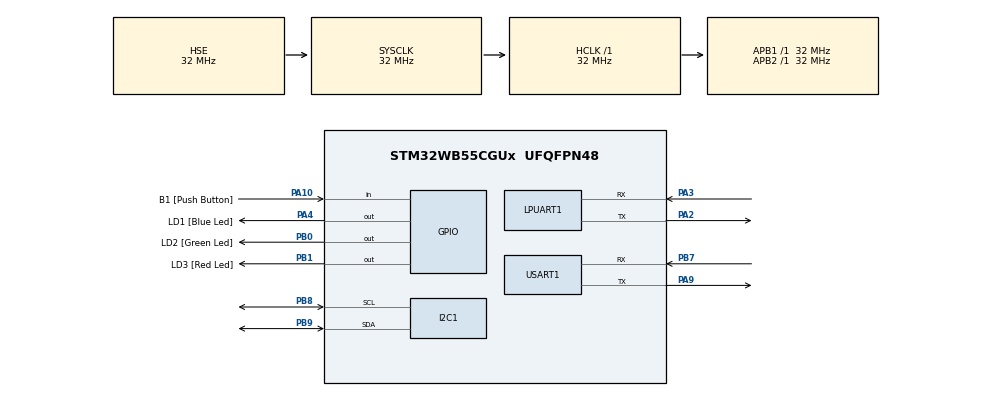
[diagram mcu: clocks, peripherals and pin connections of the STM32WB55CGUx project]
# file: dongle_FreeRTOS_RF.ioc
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FREERTOS.Tasks01=defaultTask,24,128,StartDefaultTask,Default,NULL
FREERTOS.configLIBRARY_MAX_SYSCALL_INTERRUPT_PRIORITY=5
FREERTOS.configTOTAL_HEAP_SIZE=10000
FREERTOS.configUSE_TICKLESS_IDLE=2
I2C1.Timing=0x00707CBB
Mcu.Family=STM32WB
Mcu.Name=STM32WB55CGUx
Mcu.Package=UFQFPN48
NVIC.C2SEV_PWR_C2H_IRQn=true\:5\:0\:false\:false\:true\:true\:true\:false
NVIC.FLASH_IRQn=true\:5\:0\:false\:false\:true\:true\:true\:true
NVIC.FPU_IRQn=true\:5\:0\:false\:false\:true\:true\:true\:false
NVIC.HSEM_IRQn=true\:5\:0\:false\:false\:true\:true\:true\:true
NVIC.LPUART1_IRQn=true\:5\:0\:false\:false\:true\:true\:true\:true
NVIC.PVD_PVM_IRQn=true\:5\:0\:false\:false\:true\:true\:true\:true
NVIC.PWR_SOTF_BLEACT_802ACT_RFPHASE_IRQn=true\:5\:0\:false\:false\:true\:true\:true\:false
NVIC.PriorityGroup=NVIC_PRIORITYGROUP_4
NVIC.RCC_IRQn=true\:5\:0\:false\:false\:true\:true\:true\:false
NVIC.TIM1_TRG_COM_TIM17_IRQn=true\:0\:0\:false\:false\:true\:false\:false\:true
NVIC.TimeBase=TIM1_TRG_COM_TIM17_IRQn
NVIC.TimeBaseIP=TIM17
NVIC.USART1_IRQn=true\:5\:0\:false\:false\:true\:true\:true\:true
OSC_IN.Mode=HSE-External-Oscillator
OSC_IN.Signal=RCC_OSC_IN
OSC_OUT.Mode=HSE-External-Oscillator
OSC_OUT.Signal=RCC_OSC_OUT
PA10.GPIO_Label=B1 [Push Button]
PA10.Signal=GPIO_Input
PA11.Signal=USB_DM
PA12.Signal=USB_DP
PA13.GPIO_Label=JTMS
PA13.Mode=Trace_Asynchronous_SW
PA13.Signal=SYS_JTMS-SWDIO
PA14.GPIO_Label=JTCK
PA14.Mode=Trace_Asynchronous_SW
PA14.Signal=SYS_JTCK-SWCLK
PA2.Mode=Asynchronous
PA2.Signal=LPUART1_TX
PA3.Mode=Asynchronous
PA3.Signal=LPUART1_RX
PA4.GPIO_Label=LD1 [Blue Led]
PA4.Signal=GPIO_Output
PA9.Mode=Asynchronous
PA9.Signal=USART1_TX
PB0.GPIO_Label=LD2 [Green Led]
PB0.Signal=GPIO_Output
PB1.GPIO_Label=LD3 [Red Led]
PB1.Signal=GPIO_Output
PB3.GPIO_Label=JTDO
PB3.Mode=Trace_Asynchronous_SW
PB3.Signal=SYS_JTDO-SWO
PB7.Mode=Asynchronous
PB7.Signal=USART1_RX
PB8.GPIO_PuPdOD=GPIO_NOPULL
PB8.Mode=I2C
PB8.Signal=I2C1_SCL
PB9.GPIO_PuPdOD=GPIO_NOPULL
PB9.Mode=I2C
PB9.Signal=I2C1_SDA
PC14-OSC32_IN.Mode=LSE-External-Oscillator
PC14-OSC32_IN.Signal=RCC_OSC32_IN
PC15-OSC32_OUT.Mode=LSE-External-Oscillator
PC15-OSC32_OUT.Signal=RCC_OSC32_OUT
ProjectManager.HeapSize=0x200
ProjectManager.StackSize=0x400
ProjectManager.TargetToolchain=TrueSTUDIO
RCC.ADCFreq_Value=48000000
RCC.AHBFreq_Value=32000000
RCC.APB1Freq_Value=32000000
RCC.APB1TimFreq_Value=32000000
RCC.APB2Freq_Value=32000000
RCC.APB2TimFreq_Value=32000000
RCC.APB3Freq_Value=16000000
RCC.CortexFreq_Value=32000000
RCC.HCLKFreq_Value=32000000
RCC.HSE_VALUE=32000000
RCC.HSI48_VALUE=48000000
RCC.HSI_VALUE=16000000
RCC.PLLN=32
RCC.PLLSAI1N=24
RCC.SYSCLKFreq_VALUE=32000000
RCC.SYSCLKSource=RCC_SYSCLKSOURCE_HSE
RCC.USBFreq_Value=48000000
RCC.VCOOutputFreq_Value=128000000
RF1.Mode=RF1_Activate
RF1.Signal=RF_RF1
STM32_WPAN.APPLI_CONFIG_LOG_LEVEL=LOG_LEVEL_INFO
STM32_WPAN.CFG_CLI_UART=hw_lpuart1
STM32_WPAN.CFG_FAST_CONN_ADV_INTERVAL_MAX_HEXA=0x0
STM32_WPAN.CFG_FAST_CONN_ADV_INTERVAL_MIN_HEXA=0x0
STM32_WPAN.CFG_HW_LPUART1_ENABLED=1
STM32_WPAN.CFG_LP_CONN_ADV_INTERVAL_MAX_HEXA=0x0
STM32_WPAN.CFG_LP_CONN_ADV_INTERVAL_MIN_HEXA=0x0
STM32_WPAN.CHANNEL=26
STM32_WPAN.LOCAL_NAME_FORMATTED=,'0'
STM32_WPAN.PANID=1234
STM32_WPAN.THREAD_APPLICATION=FTD
USART1.VirtualMode-Asynchronous=VM_ASYNC
VP_FREERTOS_VS_CMSIS_V2.Mode=CMSIS_V2
VP_HSEM_VS_HSEM.Mode=HSEM_Activate
VP_RTC_VS_RTC_Activate.Mode=RTC_Enabled
VP_STM32_WPAN_VS_THREAD.Mode=STM32_WPAN_Enabled
VP_SYS_VS_tim17.Mode=TIM17
VP_TINY_LPM_VS_TINY_LPM.Mode=TINY_LPM_Enabled
board=P-NUCLEO-WB55-USBDongle

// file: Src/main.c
/* USER CODE BEGIN Header */
/**
  ******************************************************************************
  * @file           : main.c
  * @brief          : Main program body
  ******************************************************************************
  * @attention
  *
  * <h2><center>&copy; Copyright (c) 2019 STMicroelectronics.
  * All rights reserved.</center></h2>
  *
  * This software component is licensed by ST under Ultimate Liberty license
  * SLA0044, the "License"; You may not use this file except in compliance with
  * the License. You may obtain a copy of the License at:
  *                             www.st.com/SLA0044
  *
  ******************************************************************************
  */
/* USER CODE END Header */

#include "main.h"
#include "cmsis_os.h"
#include "i2c.h"
#include "usart.h"
#include "rf.h"
#include "rtc.h"
#include "app_entry.h"
#include "app_common.h"
#include "gpio.h"

/* USER CODE BEGIN Includes */
#include "stm32_lpm.h"
#include "dbg_trace.h"
#include "hw_conf.h"
#include "otp.h"
/* USER CODE END Includes */

/* USER CODE BEGIN PV */
osThreadId_t defaultTaskHandle;
/* USER CODE END PV */

void SystemClock_Config(void);
void MX_FREERTOS_Init(void);
/* USER CODE BEGIN PFP */
void PeriphClock_Config(void);
static void Reset_Device( void );
static void Reset_IPCC( void );
static void Reset_BackupDomain( void );
static void Init_Exti( void );
static void Config_HSE(void);
void StartTask(void *argument);
/* USER CODE END PFP */

int main(void)
{

  /* MCU Configuration--------------------------------------------------------*/

  /* Reset of all peripherals, Initializes the Flash interface and the Systick. */
  HAL_Init();

  /* USER CODE BEGIN Init */
  Reset_Device();
  /* USER CODE END Init */

  /* Configure the system clock */
  SystemClock_Config();

  /* USER CODE BEGIN SysInit */
  Init_Exti(); /**< Configure the system Power Mode */
  /* USER CODE END SysInit */

  /* Initialize all configured peripherals */
  MX_GPIO_Init();
  MX_RF_Init();
  MX_RTC_Init();
  MX_LPUART1_UART_Init();
  MX_USART1_UART_Init();
  MX_I2C1_Init();

  /* Call init function for freertos objects (in freertos.c) */
  MX_FREERTOS_Init();

  /* Start scheduler */
  osKernelStart();

  /* We should never get here as control is now taken by the scheduler */

  /* Infinite loop */
  while (1)
  {

  }
}

void SystemClock_Config(void)
{
  RCC_OscInitTypeDef RCC_OscInitStruct = {0};
  RCC_ClkInitTypeDef RCC_ClkInitStruct = {0};
  RCC_PeriphCLKInitTypeDef PeriphClkInitStruct = {0};

  /** Configure the main internal regulator output voltage
  */
  __HAL_PWR_VOLTAGESCALING_CONFIG(PWR_REGULATOR_VOLTAGE_SCALE1);
  /** Initializes the CPU, AHB and APB busses clocks
  */
  RCC_OscInitStruct.OscillatorType = RCC_OSCILLATORTYPE_HSI|RCC_OSCILLATORTYPE_LSI1
                              |RCC_OSCILLATORTYPE_HSE;
  RCC_OscInitStruct.HSEState = RCC_HSE_ON;
  RCC_OscInitStruct.HSIState = RCC_HSI_ON;
  RCC_OscInitStruct.HSICalibrationValue = RCC_HSICALIBRATION_DEFAULT;
  RCC_OscInitStruct.LSIState = RCC_LSI_ON;
  RCC_OscInitStruct.PLL.PLLState = RCC_PLL_NONE;
  if (HAL_RCC_OscConfig(&RCC_OscInitStruct) != HAL_OK)
  {
    Error_Handler();
  }
  /** Configure the SYSCLKSource, HCLK, PCLK1 and PCLK2 clocks dividers
  */
  RCC_ClkInitStruct.ClockType = RCC_CLOCKTYPE_HCLK4|RCC_CLOCKTYPE_HCLK2
                              |RCC_CLOCKTYPE_HCLK|RCC_CLOCKTYPE_SYSCLK
                              |RCC_CLOCKTYPE_PCLK1|RCC_CLOCKTYPE_PCLK2;
  RCC_ClkInitStruct.SYSCLKSource = RCC_SYSCLKSOURCE_HSE;
  RCC_ClkInitStruct.AHBCLKDivider = RCC_SYSCLK_DIV1;
  RCC_ClkInitStruct.APB1CLKDivider = RCC_HCLK_DIV1;
  RCC_ClkInitStruct.APB2CLKDivider = RCC_HCLK_DIV1;
  RCC_ClkInitStruct.AHBCLK2Divider = RCC_SYSCLK_DIV1;
  RCC_ClkInitStruct.AHBCLK4Divider = RCC_SYSCLK_DIV1;

  if (HAL_RCC_ClockConfig(&RCC_ClkInitStruct, FLASH_LATENCY_1) != HAL_OK)
  {
    Error_Handler();
  }
  /** Initializes the peripherals clocks
  */
  PeriphClkInitStruct.PeriphClockSelection = RCC_PERIPHCLK_SMPS|RCC_PERIPHCLK_RFWAKEUP
                              |RCC_PERIPHCLK_RTC|RCC_PERIPHCLK_USART1
                              |RCC_PERIPHCLK_LPUART1|RCC_PERIPHCLK_I2C1;
  PeriphClkInitStruct.Usart1ClockSelection = RCC_USART1CLKSOURCE_PCLK2;
  PeriphClkInitStruct.Lpuart1ClockSelection = RCC_LPUART1CLKSOURCE_PCLK1;
  PeriphClkInitStruct.I2c1ClockSelection = RCC_I2C1CLKSOURCE_PCLK1;
  PeriphClkInitStruct.RTCClockSelection = RCC_RTCCLKSOURCE_LSI;
  PeriphClkInitStruct.RFWakeUpClockSelection = RCC_RFWKPCLKSOURCE_LSI;
  PeriphClkInitStruct.SmpsClockSelection = RCC_SMPSCLKSOURCE_HSE;
  PeriphClkInitStruct.SmpsDivSelection = RCC_SMPSCLKDIV_RANGE0;

  if (HAL_RCCEx_PeriphCLKConfig(&PeriphClkInitStruct) != HAL_OK)
  {
    Error_Handler();
  }
}

/* USER CODE BEGIN 4 */
void StartTask(void *argument)
{

  /* USER CODE BEGIN 5 */
  /* Infinite loop */
  for(;;)
  {
    osThreadFlagsWait(1,osFlagsWaitAll,osWaitForever);
  }
  /* USER CODE END 5 */
}

void PeriphClock_Config(void)
{
  #if (CFG_USB_INTERFACE_ENABLE != 0)
  RCC_PeriphCLKInitTypeDef PeriphClkInitStruct = { 0 };
  RCC_CRSInitTypeDef RCC_CRSInitStruct = { 0 };

  LL_RCC_HSI48_Enable();

  while(!LL_RCC_HSI48_IsReady());

  /* Select HSI48 as USB clock source */
  PeriphClkInitStruct.PeriphClockSelection = RCC_PERIPHCLK_USB;
  PeriphClkInitStruct.UsbClockSelection = RCC_USBCLKSOURCE_HSI48;
  HAL_RCCEx_PeriphCLKConfig(&PeriphClkInitStruct);

  /*Configure the clock recovery system (CRS)**********************************/

  /* Enable CRS Clock */
  __HAL_RCC_CRS_CLK_ENABLE();

  /* Default Synchro Signal division factor (not divided) */
  RCC_CRSInitStruct.Prescaler = RCC_CRS_SYNC_DIV1;

  /* Set the SYNCSRC[1:0] bits according to CRS_Source value */
  RCC_CRSInitStruct.Source = RCC_CRS_SYNC_SOURCE_USB;

  /* HSI48 is synchronized with USB SOF at 1KHz rate */
  RCC_CRSInitStruct.ReloadValue = RCC_CRS_RELOADVALUE_DEFAULT;
  RCC_CRSInitStruct.ErrorLimitValue = RCC_CRS_ERRORLIMIT_DEFAULT;

  RCC_CRSInitStruct.Polarity = RCC_CRS_SYNC_POLARITY_RISING;

  /* Set the TRIM[5:0] to the default value*/
  RCC_CRSInitStruct.HSI48CalibrationValue = RCC_CRS_HSI48CALIBRATION_DEFAULT;

  /* Start automatic synchronization */
  HAL_RCCEx_CRSConfig(&RCC_CRSInitStruct);
#endif

  /**
   * Select LSE clock
   */
  LL_RCC_LSE_Enable();
  while(!LL_RCC_LSE_IsReady());

  /**
   * Select wakeup source of BLE RF
   */
  LL_RCC_SetRFWKPClockSource(LL_RCC_RFWKP_CLKSOURCE_LSE);

  /**
   * Switch OFF LSI
   */
  LL_RCC_LSI1_Disable();

  /**
   * Set RNG on HSI48
   */
  LL_RCC_HSI48_Enable();
  while(!LL_RCC_HSI48_IsReady());
  LL_RCC_SetCLK48ClockSource(LL_RCC_CLK48_CLKSOURCE_HSI48);

  return;
}
/*************************************************************
 *
 * LOCAL FUNCTIONS
 *
 *************************************************************/

static void Config_HSE(void)
{
    OTP_ID0_t * p_otp;

  /**
   * Read HSE_Tuning from OTP
   */
  p_otp = (OTP_ID0_t *) OTP_Read(0);
  if (p_otp)
  {
    LL_RCC_HSE_SetCapacitorTuning(p_otp->hse_tuning);
  }

  return;
}

static void Reset_Device( void )
{
#if ( CFG_HW_RESET_BY_FW == 1 )
  Reset_BackupDomain();

  Reset_IPCC();
#endif

  return;
}

static void Reset_IPCC( void )
{
  LL_AHB3_GRP1_EnableClock(LL_AHB3_GRP1_PERIPH_IPCC);

  LL_C1_IPCC_ClearFlag_CHx(
      IPCC,
      LL_IPCC_CHANNEL_1 | LL_IPCC_CHANNEL_2 | LL_IPCC_CHANNEL_3 | LL_IPCC_CHANNEL_4
      | LL_IPCC_CHANNEL_5 | LL_IPCC_CHANNEL_6);

  LL_C2_IPCC_ClearFlag_CHx(
      IPCC,
      LL_IPCC_CHANNEL_1 | LL_IPCC_CHANNEL_2 | LL_IPCC_CHANNEL_3 | LL_IPCC_CHANNEL_4
      | LL_IPCC_CHANNEL_5 | LL_IPCC_CHANNEL_6);

  LL_C1_IPCC_DisableTransmitChannel(
      IPCC,
      LL_IPCC_CHANNEL_1 | LL_IPCC_CHANNEL_2 | LL_IPCC_CHANNEL_3 | LL_IPCC_CHANNEL_4
      | LL_IPCC_CHANNEL_5 | LL_IPCC_CHANNEL_6);

  LL_C2_IPCC_DisableTransmitChannel(
      IPCC,
      LL_IPCC_CHANNEL_1 | LL_IPCC_CHANNEL_2 | LL_IPCC_CHANNEL_3 | LL_IPCC_CHANNEL_4
      | LL_IPCC_CHANNEL_5 | LL_IPCC_CHANNEL_6);

  LL_C1_IPCC_DisableReceiveChannel(
      IPCC,
      LL_IPCC_CHANNEL_1 | LL_IPCC_CHANNEL_2 | LL_IPCC_CHANNEL_3 | LL_IPCC_CHANNEL_4
      | LL_IPCC_CHANNEL_5 | LL_IPCC_CHANNEL_6);

  LL_C2_IPCC_DisableReceiveChannel(
      IPCC,
      LL_IPCC_CHANNEL_1 | LL_IPCC_CHANNEL_2 | LL_IPCC_CHANNEL_3 | LL_IPCC_CHANNEL_4
      | LL_IPCC_CHANNEL_5 | LL_IPCC_CHANNEL_6);

  return;
}

static void Reset_BackupDomain( void )
{
  if ((LL_RCC_IsActiveFlag_PINRST() != FALSE) && (LL_RCC_IsActiveFlag_SFTRST() == FALSE))
  {
    HAL_PWR_EnableBkUpAccess(); /**< Enable access to the RTC registers */

    /**
     *  Write twice the value to flush the APB-AHB bridge
     *  This bit shall be written in the register before writing the next one
     */
    HAL_PWR_EnableBkUpAccess();

    __HAL_RCC_BACKUPRESET_FORCE();
    __HAL_RCC_BACKUPRESET_RELEASE();
  }

  return;
}

static void Init_Exti( void )
{
  /**< Disable all wakeup interrupt on CPU1  except IPCC(36), HSEM(38) */
  LL_EXTI_DisableIT_0_31(~0);
  LL_EXTI_DisableIT_32_63( (~0) & (~(LL_EXTI_LINE_36 | LL_EXTI_LINE_38)) );

  return;
}
/* USER CODE END 4 */

void HAL_TIM_PeriodElapsedCallback(TIM_HandleTypeDef *htim)
{
  if (htim->Instance == TIM17) {
    HAL_IncTick();
  }
}

void Error_Handler(void)
{
}

/************************ (C) COPYRIGHT STMicroelectronics *****END OF FILE****/

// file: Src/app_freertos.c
/* USER CODE BEGIN Header */
/**
  ******************************************************************************
  * File Name          : app_freertos.c
  * Description        : Code for freertos applications
  ******************************************************************************
  * @attention
  *
  * <h2><center>&copy; Copyright (c) 2019 STMicroelectronics.
  * All rights reserved.</center></h2>
  *
  * This software component is licensed by ST under Ultimate Liberty license
  * SLA0044, the "License"; You may not use this file except in compliance with
  * the License. You may obtain a copy of the License at:
  *                             www.st.com/SLA0044
  *
  ******************************************************************************
  */
/* USER CODE END Header */

#include "FreeRTOS.h"
#include "task.h"
#include "main.h"
#include "cmsis_os.h"

/* USER CODE BEGIN Includes */
#include "app_entry.h"
#include "lights.h"
//#include "lp5523.h"
/* USER CODE END Includes */

/* USER CODE BEGIN Variables */
osThreadId_t threadCheckToggleLightsTaskHandle;

/* USER CODE END Variables */
osThreadId_t defaultTaskHandle;

void StartDefaultTask(void *argument);

extern void MX_STM32_WPAN_Init(void);
void MX_FREERTOS_Init(void); /* (MISRA C 2004 rule 8.1) */

/* USER CODE BEGIN VPORT_SUPPORT_TICKS_AND_SLEEP */
__weak void vPortSuppressTicksAndSleep( TickType_t xExpectedIdleTime )
{
  // Generated when configUSE_TICKLESS_IDLE == 2.
  // Function called in tasks.c (in portTASK_FUNCTION).
  // TO BE COMPLETED or TO BE REPLACED by a user one, overriding that weak one.
}
/* USER CODE END VPORT_SUPPORT_TICKS_AND_SLEEP */

void MX_FREERTOS_Init(void) {
osKernelInitialize();

  /* Create the thread(s) */
  /* definition and creation of defaultTask */
  const osThreadAttr_t defaultTask_attributes = {
    .name = "defaultTask",
    .priority = (osPriority_t) osPriorityNormal,
    .stack_size = 128
  };
  defaultTaskHandle = osThreadNew(StartDefaultTask, NULL, &defaultTask_attributes);

  /* USER CODE BEGIN RTOS_THREADS */
  /* add threads, ... */
//
//  const osThreadAttr_t threadCheckToggleLightsTask_attributes = {
//      .name = "threadCheckToggleLightsTask",
//      .priority = (osPriority_t) osPriorityNormal,
//      .stack_size = 1024
//    };
//  threadCheckToggleLightsTaskHandle = osThreadNew(ThreadCheckToggleLightsTask, NULL, &threadCheckToggleLightsTask_attributes);

//  const osThreadAttr_t threadFrontLightsTask_attributes = {
//        .name = "threadFrontLightsTask",
//        .priority = (osPriority_t) osPriorityNormal,
//        .stack_size = 1024
//      };
//  threadFrontLightsTaskHandle = osThreadNew(ThreadFrontLightsTask, NULL, &threadFrontLightsTask_attributes);

  APPE_Init();
  /* USER CODE END RTOS_THREADS */

}

void StartDefaultTask(void *argument)
{
  /* USER CODE BEGIN StartDefaultTask */
  /* Infinite loop */

  /* Init code for STM32_WPAN */
  //APPE_Init();

  for(;;)
  {
	//osThreadFlagsWait(1,osFlagsWaitAll,osWaitForever);

    osDelay(1);
  }
  /* USER CODE END StartDefaultTask */
}

/************************ (C) COPYRIGHT STMicroelectronics *****END OF FILE****/
